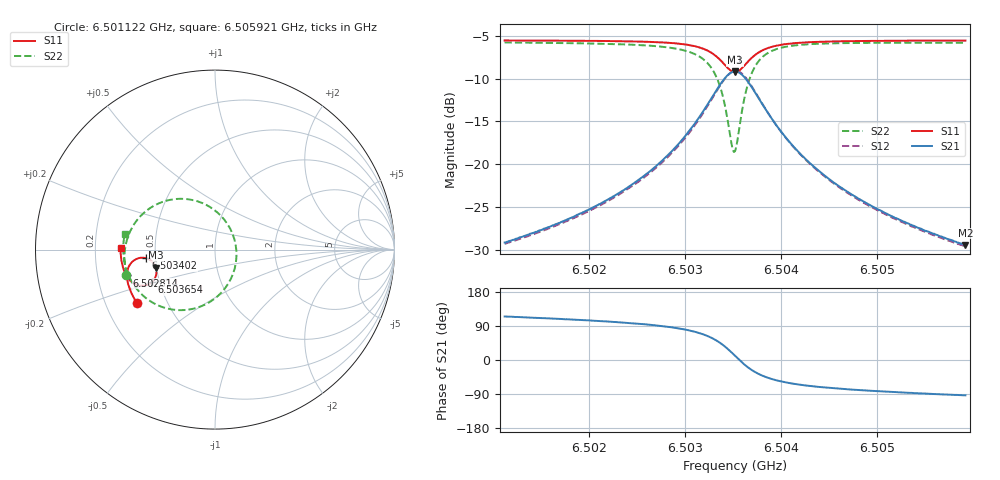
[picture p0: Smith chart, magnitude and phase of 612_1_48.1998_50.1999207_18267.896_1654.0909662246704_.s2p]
#  HZ  S  RI  R  50.00
! Rohde & Schwarz Vector Network Analyzer
! Rohde-Schwarz,ZNB20-2Port,1311601062101988,3.16
! Created: UTC 3/20/2024, 12:03:32 PM
! freq[Hz]  re:S11  im:S11  re:S21  im:S21  re:S12  im:S12  re:S22  im:S22
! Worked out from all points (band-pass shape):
!   401 points, 6.501122 GHz to 6.505921 GHz, reference 50 ohm
!   highest |S21| = -9.18 dB at 6.503522 GHz (marker M1); lowest = -29.4 dB at 6.505921 GHz (marker M2)
!   |S21| within 3 dB of the highest: 6.503282 GHz to 6.503762 GHz (479.4 kHz wide, 0.00737 % of centre)
!   lowest |S11| = -9.3 dB at 6.503522 GHz (marker M3), VSWR 2.05, Z = 24.8 - j5.65 ohm
!   |S11| at or under -10 dB: nowhere
!   |S22| runs from -18.6 to -5.8 dB; largest |S21 - S12| = 0.012
!   S11 on the Smith chart (normalised r, x): 6.501122 GHz: 0.34, -0.28; 6.502814 GHz: 0.33, -0.13; 6.503402 GHz: 0.44, -0.05; 6.503654 GHz: 0.45, -0.19; 6.505921 GHz: 0.31, +0.01
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6.5011218e9  -0.4344 -0.2984  -0.0147 0.0319  -0.0129 0.0319  -0.4939 -0.1402
6.5019258e9  -0.4677 -0.2374  -0.0138 0.0502  -0.0114 0.0499  -0.5043 -0.0521
6.5023817e9  -0.4831 -0.1958  -0.0105 0.0713  -0.00737 0.0702  -0.4994 0.0158
6.5027297e9  -0.4904 -0.1557  -0.000921 0.1012  0.0029 0.0988  -0.4781 0.0897
6.5028137e9  -0.4908 -0.1439  0.00401 0.112  0.00778 0.1091  -0.4673 0.1128
6.5030176e9  -0.4861 -0.1099  0.0273 0.1474  0.031 0.1428  -0.4193 0.1821
6.5031616e9  -0.4713 -0.0797  0.0656 0.1815  0.0683 0.1756  -0.345 0.2416
6.5033056e9  -0.4323 -0.0499  0.1492 0.2107  0.1499 0.2045  -0.1925 0.2831
6.5034016e9  -0.3846 -0.0475  0.2428 0.1936  0.2431 0.1891  -0.0305 0.239
6.5034856e9  -0.3406 -0.0777  0.323 0.117  0.3259 0.1129  0.0979 0.0878
6.5035216e9  -0.3295 -0.1005  0.3411 0.067  0.3452 0.0615  0.1191 -0.00626
6.5035456e9  -0.3263 -0.1172  0.3445 0.0313  0.349 0.0245  0.1166 -0.0714
6.5035816e9  -0.3286 -0.1421  0.3368 -0.0202  0.3409 -0.0292  0.0885 -0.1629
6.5036536e9  -0.3514 -0.1805  0.2885 -0.0984  0.2889 -0.1104  -0.025 -0.2894
6.5037016e9  -0.3726 -0.1944  0.2473 -0.1278  0.2448 -0.1396  -0.1114 -0.3272
6.5037616e9  -0.3984 -0.2013  0.1991 -0.1447  0.1939 -0.1549  -0.2062 -0.3372
6.5039175e9  -0.4466 -0.1917  0.113 -0.1402  0.1057 -0.1459  -0.3612 -0.2869
6.5040855e9  -0.4751 -0.1703  0.0664 -0.1185  0.06 -0.1211  -0.4364 -0.2188
6.5043255e9  -0.4963 -0.1405  0.0351 -0.0925  0.0304 -0.0932  -0.4812 -0.1442
6.5046855e9  -0.5119 -0.1018  0.0156 -0.0679  0.0121 -0.0676  -0.5044 -0.0681
6.5051294e9  -0.5214 -0.0599  0.00541 -0.0504  0.00297 -0.0498  -0.5109 -0.00215
6.5059213e9  -0.5264 0.00798  -0.00194 -0.0339  -0.00336 -0.0333  -0.5039 0.0844
